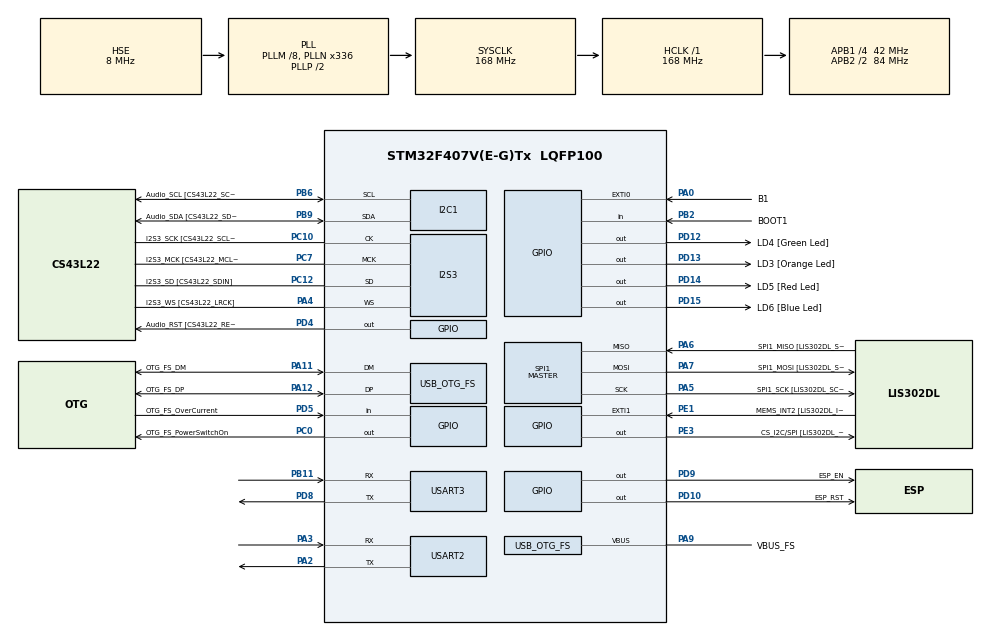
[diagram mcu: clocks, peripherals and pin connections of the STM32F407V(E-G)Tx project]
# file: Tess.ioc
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PA11.GPIO_Speed=GPIO_SPEED_FREQ_LOW
PD12.GPIO_Label=LD4 [Green Led]
PH0-OSC_IN.Signal=RCC_OSC_IN
PC10.GPIO_PuPd=GPIO_NOPULL
SPI1.VirtualType=VM_MASTER
PB10.GPIO_PuPd=GPIO_NOPULL
PA10.GPIO_PuPd=GPIO_NOPULL
Dma.USART3_TX.3.MemInc=DMA_MINC_ENABLE
PC12.Signal=I2S3_SD
PA14.GPIO_Label=SWCLK
PA6.GPIO_Label=SPI1_MISO [LIS302DL_SDO]
PB6.GPIO_Label=Audio_SCL [CS43L22_SCL]
Dma.USART3_TX.3.MemDataAlignment=DMA_MDATAALIGN_BYTE
PC15-OSC32_OUT.GPIO_Label=PC15-OSC32_OUT
PC3.GPIO_Speed=GPIO_SPEED_FREQ_LOW
RCC.SYSCLKSource=RCC_SYSCLKSOURCE_PLLCLK
PA6.GPIO_Mode=GPIO_MODE_AF_PP
Dma.USART3_RX.2.Priority=DMA_PRIORITY_LOW
PD14.GPIO_Speed=GPIO_SPEED_FREQ_LOW
PA4.Mode=Half_Duplex_Master
SPI1.Direction=SPI_DIRECTION_2LINES
Dma.USART2_RX.0.PeriphDataAlignment=DMA_PDATAALIGN_BYTE
I2S3.AudioFreq-Half_Duplex_Master=I2S_AUDIOFREQ_96K
PD4.Signal=GPIO_Output
RCC.APB2TimFreq_Value=168000000
PB6.Signal=I2C1_SCL
PC7.Signal=I2S3_MCK
Dma.USART2_TX.1.Mode=DMA_NORMAL
PB6.Mode=I2C
PC3.Signal=I2S2_SD
PD8.Signal=USART3_TX
PE1.Signal=GPXTI1
USB_OTG_FS.phy_itface=HCD_PHY_EMBEDDED
PB2.Signal=GPIO_Input
I2S3.ErrorAudioFreq=-2.34 %
Dma.USART2_TX.1.Instance=DMA1_Stream6
PA5.GPIO_PuPd=GPIO_NOPULL
I2S3.ErrorAudioFreq-Half_Duplex_Master=0.8 %
NVIC.TIM2_IRQn=true\:0\:0\:false\:false\:true\:true\:true
PD5.GPIO_Mode=GPIO_MODE_INPUT
PD14.GPIO_PuPd=GPIO_NOPULL
PB2.GPIO_PuPd=GPIO_NOPULL
SPI1.CalculateBaudRate-Full_Duplex_Master=42.0 MBits/s
Mcu.Package=LQFP100
PB9.Signal=I2C1_SDA
TIM2.Prescaler=8400-1
PD12.Signal=GPIO_Output
PA10.Signal=USB_OTG_FS_ID
PB9.GPIO_PuPd=GPIO_NOPULL
RCC.APB2CLKDivider=RCC_HCLK_DIV2
RCC.APB1TimFreq_Value=84000000
PC12.GPIO_PuPd=GPIO_NOPULL
PA6.GPIO_Speed=GPIO_SPEED_FREQ_LOW
PA12.GPIO_PuPd=GPIO_NOPULL
NVIC.DMA1_Stream6_IRQn=true\:0\:0\:false\:false\:true\:false\:true
PA4.GPIO_Label=I2S3_WS [CS43L22_LRCK]
PD15.Signal=GPIO_Output
PC0.PinState=GPIO_PIN_SET
PA5.Mode=Full_Duplex_Master
I2S3.FullDuplexMode=I2S_FULLDUPLEXMODE_DISABLE
PD9.GPIO_Label=ESP_EN
PA9.GPIO_Label=VBUS_FS
PB6.GPIO_PuPd=GPIO_NOPULL
Dma.USART2_RX.0.Direction=DMA_PERIPH_TO_MEMORY
PA11.GPIO_Label=OTG_FS_DM
PE1.GPIO_PuPd=GPIO_NOPULL
PC0.Signal=GPIO_Output
RCC.APB1CLKDivider=RCC_HCLK_DIV4
PC14-OSC32_IN.Signal=RCC_OSC32_IN
Dma.USART3_TX.3.PeriphInc=DMA_PINC_DISABLE
PA0-WKUP.GPIO_Label=B1
PA0-WKUP.Signal=GPXTI0
USB_HOST0.BSP.STBoard=false
PD10.Signal=GPIO_Output
PA3.Mode=Asynchronous
PC10.GPIO_Mode=GPIO_MODE_AF_PP
Dma.USART3_RX.2.PeriphDataAlignment=DMA_PDATAALIGN_BYTE
PB10.GPIO_Mode=GPIO_MODE_AF_PP
PB11.Mode=Asynchronous
PA9.Signal=USB_OTG_FS_VBUS
I2S3.VirtualMode=I2S_MODE_MASTER
PC7.GPIO_PuPd=GPIO_NOPULL
PD8.Mode=Asynchronous
PB10.Signal=I2S2_CK
PA5.Signal=SPI1_SCK
PC12.Mode=Half_Duplex_Master
PE1.GPIO_Label=MEMS_INT2 [LIS302DL_INT2]
USB_HOST.VirtualModeFS=Cdc
PA7.GPIO_Speed=GPIO_SPEED_FREQ_LOW
PB2.GPIO_Mode=GPIO_MODE_INPUT
SPI1.Mode=SPI_MODE_MASTER
PD4.GPIO_Speed=GPIO_SPEED_FREQ_LOW
PE3.GPIO_PuPd=GPIO_NOPULL
PH1-OSC_OUT.GPIO_Label=PH1-OSC_OUT
TIM2.Period=600000-1
PA13.Mode=Serial_Wire
Dma.USART2_RX.0.MemInc=DMA_MINC_ENABLE
Dma.USART3_TX.3.Mode=DMA_NORMAL
PC7.GPIO_Label=I2S3_MCK [CS43L22_MCLK]
PA4.Signal=I2S3_WS
PC12.GPIO_Mode=GPIO_MODE_AF_PP
PA5.GPIO_Label=SPI1_SCK [LIS302DL_SCL/SPC]
PE3.GPIO_Speed=GPIO_SPEED_FREQ_LOW
PC12.GPIO_Label=I2S3_SD [CS43L22_SDIN]
PA11.Signal=USB_OTG_FS_DM
ProjectManager.HeapSize=0xa00
NVIC.PriorityGroup=NVIC_PRIORITYGROUP_0
PE3.Signal=GPIO_Output
PC3.GPIO_Label=PDM_OUT [MP45DT02_DOUT]
I2S3.Instance=SPI$Index
Dma.USART2_TX.1.MemDataAlignment=DMA_MDATAALIGN_BYTE
PB6.GPIO_Speed=GPIO_SPEED_FREQ_LOW
SPI1.BaudRatePrescaler-Full_Duplex_Master=SPI_BAUDRATEPRESCALER_2
USB_HOST0.BSP.mode=Output
Dma.USART3_TX.3.Priority=DMA_PRIORITY_LOW
Mcu.Family=STM32F4
NVIC.USART3_IRQn=true\:0\:0\:false\:false\:true\:true\:true
PC3.GPIO_Mode=GPIO_MODE_AF_PP
PA6.Mode=Full_Duplex_Master
RCC.CortexFreq_Value=168000000
PB10.GPIO_Speed=GPIO_SPEED_FREQ_LOW
PB6.GPIO_Mode=GPIO_MODE_AF_OD
Dma.USART3_TX.3.PeriphDataAlignment=DMA_PDATAALIGN_BYTE
Dma.USART2_TX.1.MemInc=DMA_MINC_ENABLE
PD15.GPIO_Speed=GPIO_SPEED_FREQ_LOW
PC10.Signal=I2S3_CK
PA7.GPIO_Mode=GPIO_MODE_AF_PP
PC0.GPIO_Label=OTG_FS_PowerSwitchOn
PA11.Mode=Host_Only
PC10.GPIO_Speed=GPIO_SPEED_FREQ_LOW
PA11.GPIO_PuPd=GPIO_NOPULL
PB11.Signal=USART3_RX
ProjectManager.StackSize=0xa00
SPI1.Mode-Full_Duplex_Master=SPI_MODE_MASTER
PD13.Signal=GPIO_Output
PA12.Signal=USB_OTG_FS_DP
Dma.USART2_RX.0.Priority=DMA_PRIORITY_LOW
Dma.USART3_RX.2.PeriphInc=DMA_PINC_DISABLE
RCC.HCLKFreq_Value=168000000
USB_HOST0.BSP.ip=GPIO
RCC.AHBFreq_Value=168000000
PH0-OSC_IN.Mode=HSE-External-Oscillator
PH0-OSC_IN.GPIO_Label=PH0-OSC_IN
PA9.GPIO_Mode=GPIO_MODE_INPUT
RCC.HSE_VALUE=8000000
PA4.GPIO_PuPd=GPIO_NOPULL
PA4.GPIO_Speed=GPIO_SPEED_FREQ_LOW
PA6.GPIO_PuPd=GPIO_NOPULL
Dma.USART3_TX.3.Direction=DMA_MEMORY_TO_PERIPH
Dma.USART2_RX.0.MemDataAlignment=DMA_MDATAALIGN_BYTE
PC14-OSC32_IN.Mode=LSE-External-Oscillator
PA14.Mode=Serial_Wire
PA10.GPIO_Label=OTG_FS_ID
Dma.USART2_RX.0.Instance=DMA1_Stream5
PC7.GPIO_Mode=GPIO_MODE_AF_PP
USB_HOST0.BSP.i2creg=0
PH1-OSC_OUT.Mode=HSE-External-Oscillator
USB_HOST0.BSP.i2caddr=0
PD13.GPIO_Label=LD3 [Orange Led]
PA6.Signal=SPI1_MISO
Dma.USART2_RX.0.PeriphInc=DMA_PINC_DISABLE
USART2.VirtualMode=VM_ASYNC
Dma.USART2_RX.0.FIFOMode=DMA_FIFOMODE_DISABLE
USB_HOST.USBH_HandleTypeDef-CDC_FS=hUsbHostFS
PD5.GPIO_Label=OTG_FS_OverCurrent
NVIC.OTG_FS_IRQn=true\:0\:0\:false\:false\:true\:true\:true
PD15.GPIO_PuPd=GPIO_NOPULL
USB_OTG_FS.VirtualMode=Host_Only
PA10.GPIO_Speed=GPIO_SPEED_FREQ_LOW
USB_HOST0.BSP.name=Drive_VBUS_FS
PB9.GPIO_Speed=GPIO_SPEED_FREQ_LOW
Dma.Request2=USART3_RX
Dma.Request1=USART2_TX
Dma.Request3=USART3_TX
PC14-OSC32_IN.GPIO_Label=PC14-OSC32_IN
PC0.GPIO_PuPd=GPIO_NOPULL
Dma.Request0=USART2_RX
PA12.GPIO_Speed=GPIO_SPEED_FREQ_LOW
PA3.Signal=USART2_RX
PB3.GPIO_Label=SWO
PC15-OSC32_OUT.Mode=LSE-External-Oscillator
Dma.USART2_TX.1.Priority=DMA_PRIORITY_LOW
PD12.GPIO_Speed=GPIO_SPEED_FREQ_LOW
PD15.GPIO_Label=LD6 [Blue Led]
PA7.Mode=Full_Duplex_Master
PB9.GPIO_Label=Audio_SDA [CS43L22_SDA]
PC10.GPIO_Label=I2S3_SCK [CS43L22_SCLK]
Dma.USART2_TX.1.FIFOMode=DMA_FIFOMODE_DISABLE
Dma.USART3_RX.2.Mode=DMA_NORMAL
USB_HOST0.BSP.solution=PC0
PC10.Mode=Half_Duplex_Master
USB_HOST.BSP.number=1
PD9.Signal=GPIO_Output
PD5.Signal=GPIO_Input
NVIC.DMA1_Stream1_IRQn=true\:0\:0\:false\:false\:true\:false\:true
PE1.GPIO_ModeDefaultEXTI=GPIO_MODE_EVT_RISING
PA9.GPIO_PuPd=GPIO_NOPULL
Dma.USART2_TX.1.PeriphDataAlignment=DMA_PDATAALIGN_BYTE
NVIC.USART2_IRQn=true\:0\:0\:false\:false\:true\:true\:true
PA12.GPIO_Label=OTG_FS_DP
Dma.USART2_RX.0.Mode=DMA_NORMAL
PA10.GPIO_Mode=GPIO_MODE_AF_PP
PA13.Signal=SYS_JTMS-SWDIO
PD4.GPIO_PuPd=GPIO_NOPULL
PA9.Mode=Activate_VBUS
PC0.GPIO_Speed=GPIO_SPEED_FREQ_LOW
I2S3.RealAudioFreq-Half_Duplex_Master=96.774 KHz
Dma.USART3_RX.2.MemInc=DMA_MINC_ENABLE
ProjectManager.TargetToolchain=STM32CubeIDE
PB10.GPIO_Label=CLK_IN [MP45DT02_CLK]
NVIC.DMA1_Stream5_IRQn=true\:0\:0\:false\:false\:true\:false\:true
PB9.Mode=I2C
Dma.USART3_TX.3.FIFOMode=DMA_FIFOMODE_DISABLE
PD10.GPIO_Label=ESP_RST
Dma.USART3_RX.2.Direction=DMA_PERIPH_TO_MEMORY
PC15-OSC32_OUT.Signal=RCC_OSC32_OUT
PA7.GPIO_PuPd=GPIO_NOPULL
Dma.USART3_TX.3.Instance=DMA1_Stream3
Dma.USART2_TX.1.PeriphInc=DMA_PINC_DISABLE
board=STM32F407G-DISC1
PD13.GPIO_Speed=GPIO_SPEED_FREQ_LOW
PC7.GPIO_Speed=GPIO_SPEED_FREQ_LOW
RCC.VCOOutputFreq_Value=336000000
PB9.GPIO_Mode=GPIO_MODE_AF_OD
PA12.GPIO_Mode=GPIO_MODE_AF_PP
PA4.GPIO_Mode=GPIO_MODE_AF_PP
Dma.USART2_TX.1.Direction=DMA_MEMORY_TO_PERIPH
RCC.APB2Freq_Value=84000000
USB_HOST0.BSP.api=Unknown
VP_TIM2_VS_ClockSourceINT.Mode=Internal
PD4.GPIO_Label=Audio_RST [CS43L22_RESET]
PH1-OSC_OUT.Signal=RCC_OSC_OUT
PD13.GPIO_PuPd=GPIO_NOPULL
PD5.GPIO_PuPd=GPIO_NOPULL
PD14.GPIO_Label=LD5 [Red Led]
Mcu.Name=STM32F407V(E-G)Tx
PA2.Signal=USART2_TX
PA13.GPIO_Label=SWDIO
PD14.Signal=GPIO_Output
RCC.48MHZClocksFreq_Value=48000000
PB3.Signal=SYS_JTDO-SWO
NVIC.EXTI0_IRQn=true\:0\:0\:false\:false\:true\:true\:true
RCC.SYSCLKFreq_VALUE=168000000
PA7.GPIO_Label=SPI1_MOSI [LIS302DL_SDA/SDI/SDO]
PA12.Mode=Host_Only
VP_USB_HOST_VS_USB_HOST_CDC_FS.Mode=CDC_FS
USART3.VirtualMode=VM_ASYNC
PA14.Signal=SYS_JTCK-SWCLK
PB2.GPIO_Label=BOOT1
Dma.USART3_RX.2.FIFOMode=DMA_FIFOMODE_DISABLE
RCC.HSI_VALUE=16000000
PA5.GPIO_Speed=GPIO_SPEED_FREQ_LOW
RCC.PLLQ=7
Dma.USART3_RX.2.MemDataAlignment=DMA_MDATAALIGN_BYTE
I2S3.RealAudioFreq=93.75 KHz
RCC.PLLM=8
RCC.PLLN=336
PA2.Mode=Asynchronous
PE3.GPIO_Label=CS_I2C/SPI [LIS302DL_CS_I2C/SPI]
NVIC.DMA1_Stream3_IRQn=true\:0\:0\:false\:false\:true\:false\:true
Dma.USART3_RX.2.Instance=DMA1_Stream1
PC7.Mode=Master_Clock_Activated
PA11.GPIO_Mode=GPIO_MODE_AF_PP
RCC.APB1Freq_Value=42000000
PA5.GPIO_Mode=GPIO_MODE_AF_PP
PC12.GPIO_Speed=GPIO_SPEED_FREQ_LOW
PC3.GPIO_PuPd=GPIO_NOPULL
PD12.GPIO_PuPd=GPIO_NOPULL
PA7.Signal=SPI1_MOSI
USB_HOST0.BSP.instance=PC0

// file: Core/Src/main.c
/* USER CODE BEGIN Header */
/**
 ******************************************************************************
 * @file           : main.c
 * @brief          : Main program body
 ******************************************************************************
 * @attention
 *
 * <h2><center>&copy; Copyright (c) 2021 STMicroelectronics.
 * All rights reserved.</center></h2>
 *
 * This software component is licensed by ST under Ultimate Liberty license
 * SLA0044, the "License"; You may not use this file except in compliance with
 * the License. You may obtain a copy of the License at:
 *                             www.st.com/SLA0044
 *
 ******************************************************************************
 */
/* USER CODE END Header */
#include "main.h"
#include "dma.h"
#include "i2c.h"
#include "i2s.h"
#include "spi.h"
#include "tim.h"
#include "usart.h"
#include "usb_host.h"
#include "gpio.h"

/* USER CODE BEGIN Includes */

#include <stdio.h>
#include "esp8266_at.h"
#include "my_uart.h"
#include "MQTTPacket.h"
#include "iot_serve.h"

/* USER CODE END Includes */

void SystemClock_Config(void);
void MX_USB_HOST_Process(void);

int main(void)
{

  /* MCU Configuration--------------------------------------------------------*/

  /* Reset of all peripherals, Initializes the Flash interface and the Systick. */
  HAL_Init();

  /* Configure the system clock */
  SystemClock_Config();

  /* Initialize all configured peripherals */
  MX_GPIO_Init();
  MX_DMA_Init();
  MX_I2C1_Init();
  MX_I2S3_Init();
  MX_SPI1_Init();
  MX_USB_HOST_Init();
  MX_TIM2_Init();
  MX_USART2_UART_Init();
  MX_USART3_UART_Init();
  /* USER CODE BEGIN 2 */

	UART2_DMA_IDLE_Start();
	UART3_DMA_IDLE_Start();

	while(!ESP8266_Init());
	IOT_Connect();
	HAL_Delay(500);
	IOT_Subscribe(S_TOPIC_NAME);

	HAL_TIM_Base_Start_IT((TIM_HandleTypeDef *)&htim2);//定时器开启

  /* USER CODE END 2 */

  /* Infinite loop */
  /* USER CODE BEGIN WHILE */
	while (1)
	{

	IOT_TaskHandle();
    /* USER CODE END WHILE */
    MX_USB_HOST_Process();

	}
}

void SystemClock_Config(void)
{
  RCC_OscInitTypeDef RCC_OscInitStruct = {0};
  RCC_ClkInitTypeDef RCC_ClkInitStruct = {0};
  RCC_PeriphCLKInitTypeDef PeriphClkInitStruct = {0};

  /** Configure the main internal regulator output voltage
  */
  __HAL_RCC_PWR_CLK_ENABLE();
  __HAL_PWR_VOLTAGESCALING_CONFIG(PWR_REGULATOR_VOLTAGE_SCALE1);
  /** Initializes the RCC Oscillators according to the specified parameters
  * in the RCC_OscInitTypeDef structure.
  */
  RCC_OscInitStruct.OscillatorType = RCC_OSCILLATORTYPE_HSE;
  RCC_OscInitStruct.HSEState = RCC_HSE_ON;
  RCC_OscInitStruct.PLL.PLLState = RCC_PLL_ON;
  RCC_OscInitStruct.PLL.PLLSource = RCC_PLLSOURCE_HSE;
  RCC_OscInitStruct.PLL.PLLM = 8;
  RCC_OscInitStruct.PLL.PLLN = 336;
  RCC_OscInitStruct.PLL.PLLP = RCC_PLLP_DIV2;
  RCC_OscInitStruct.PLL.PLLQ = 7;
  if (HAL_RCC_OscConfig(&RCC_OscInitStruct) != HAL_OK)
  {
    Error_Handler();
  }
  /** Initializes the CPU, AHB and APB buses clocks
  */
  RCC_ClkInitStruct.ClockType = RCC_CLOCKTYPE_HCLK|RCC_CLOCKTYPE_SYSCLK
                              |RCC_CLOCKTYPE_PCLK1|RCC_CLOCKTYPE_PCLK2;
  RCC_ClkInitStruct.SYSCLKSource = RCC_SYSCLKSOURCE_PLLCLK;
  RCC_ClkInitStruct.AHBCLKDivider = RCC_SYSCLK_DIV1;
  RCC_ClkInitStruct.APB1CLKDivider = RCC_HCLK_DIV4;
  RCC_ClkInitStruct.APB2CLKDivider = RCC_HCLK_DIV2;

  if (HAL_RCC_ClockConfig(&RCC_ClkInitStruct, FLASH_LATENCY_5) != HAL_OK)
  {
    Error_Handler();
  }
  PeriphClkInitStruct.PeriphClockSelection = RCC_PERIPHCLK_I2S;
  PeriphClkInitStruct.PLLI2S.PLLI2SN = 192;
  PeriphClkInitStruct.PLLI2S.PLLI2SR = 2;
  if (HAL_RCCEx_PeriphCLKConfig(&PeriphClkInitStruct) != HAL_OK)
  {
    Error_Handler();
  }
}

/* USER CODE BEGIN 4 */

void HAL_GPIO_EXTI_Callback(uint16_t GPIO_Pin) {

	if (GPIO_Pin == B1_Pin) {
		if (HAL_GPIO_ReadPin(B1_GPIO_Port, B1_Pin == GPIO_PIN_SET)) {
			HAL_GPIO_TogglePin(LD3_GPIO_Port, LD3_Pin);
			IotTaskflag.IotPublish_task=1;
		}
	}
}

void HAL_TIM_PeriodElapsedCallback(TIM_HandleTypeDef *htim)
{
	if(htim->Instance==TIM2)
	{
		IotTaskflag.IotPing_task=1;		//定时发送心跳包
	}

}

/* USER CODE END 4 */

void Error_Handler(void)
{
	__disable_irq();
	while (1)
	{
	}
}

/************************ (C) COPYRIGHT STMicroelectronics *****END OF FILE****/
